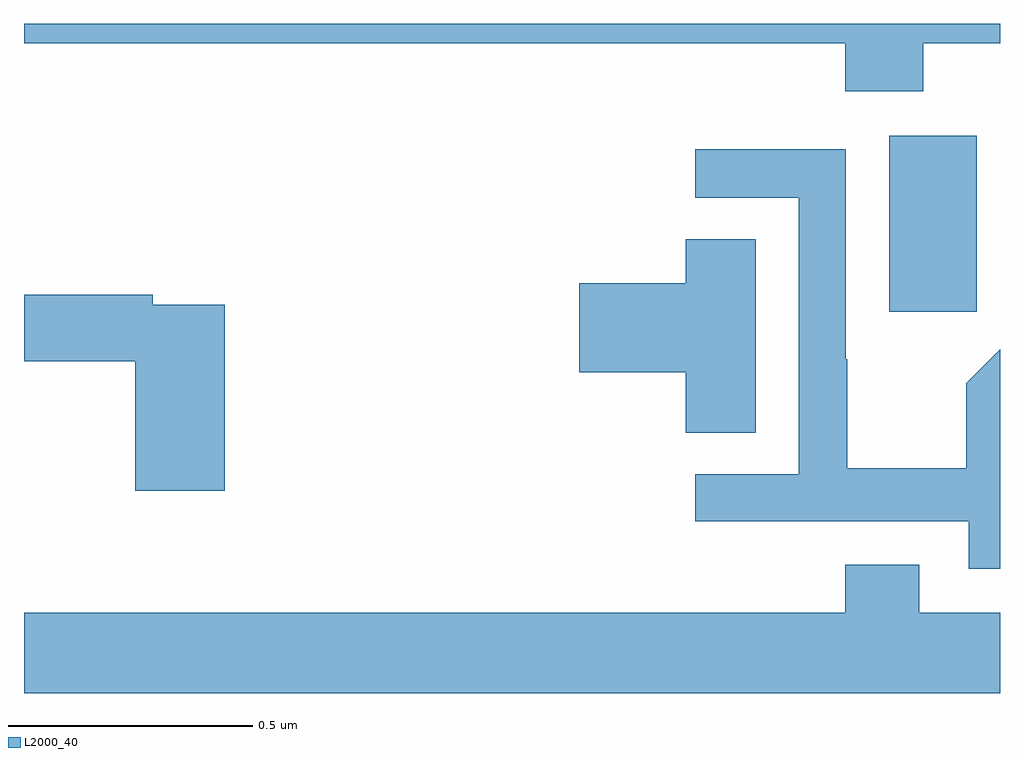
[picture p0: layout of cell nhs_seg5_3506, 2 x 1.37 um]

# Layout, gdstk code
import gdstk
lib = gdstk.Library(unit=1e-6, precision=1e-09)
def R(c, l, rs):  # rectangles x0, y0, x1, y1
    for r in rs: c.add(gdstk.rectangle(r[:2], r[2:], *l))
def P(c, l, *ps):  # polygons
    for p in ps: c.add(gdstk.Polygon(p, *l))
L2000_40 = (2000, 40)

nhs_seg5_3506 = lib.new_cell('nhs_seg5_3506')
R(nhs_seg5_3506, L2000_40, [(159.773,856.209,159.952,856.57)])
P(nhs_seg5_3506, L2000_40, [(159.843,856.76),(160,856.76),(160,856.799),(158,856.799),(158,856.76),(159.683,856.76),(159.683,856.661),(159.843,856.661)],
  [(160,856.132),(159.931,856.063),(159.931,855.889),(159.687,855.889),(159.687,856.112),(159.684,856.112),(159.684,856.542),(159.375,856.542),(159.375,856.443),(159.588,856.443),(159.588,855.876),(159.375,855.876),(159.375,855.78),(159.936,855.78),(159.936,855.683),(160,855.683)],
  [(159.499,856.358),(159.356,856.358),(159.356,856.268),(159.138,856.268),(159.138,856.085),(159.356,856.085),(159.356,855.961),(159.499,855.961)],
  [(158.411,856.224),(158.264,856.224),(158.264,856.244),(158,856.244),(158,856.108),(158.228,856.108),(158.228,855.843),(158.411,855.843)],
  [(160,855.592),(159.835,855.592),(159.835,855.691),(159.683,855.691),(159.683,855.592),(158,855.592),(158,855.428),(160,855.428)])

lib.write_gds('nhs_seg5_3506.gds')
